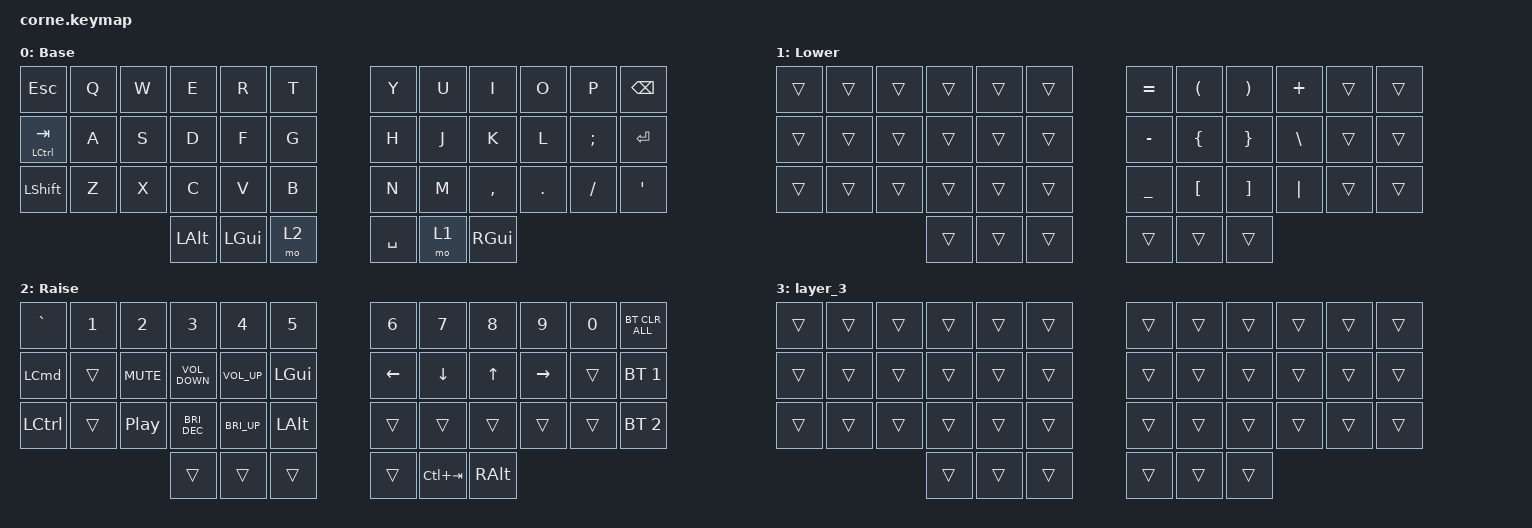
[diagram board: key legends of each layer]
/*
 * Copyright (c) 2020 The ZMK Contributors
 *
 * SPDX-License-Identifier: MIT
 */

#include <behaviors.dtsi>
#include <dt-bindings/zmk/bt.h>
#include <dt-bindings/zmk/keys.h>

/ {
    behaviors {
        kp_tap: kp_tap {
            compatible = "zmk,behavior-hold-tap";
            label = "KP_TAP";
            bindings = <&kp>, <&kp>;

            #binding-cells = <2>;
            tapping-term-ms = <400>;
            quick-tap-ms = <200>;
            flavor = "tap-preferred";
        };

        new_behavior: new_behavior {
            compatible = "zmk,behavior-hold-tap";
            label = "NEW_BEHAVIOR";
            bindings = <&mo>, <&kp>;

            #binding-cells = <2>;
            tapping-term-ms = <400>;
            flavor = "tap-preferred";
            quick-tap-ms = <200>;
        };
    };

    combos {
        compatible = "zmk,combos";

        screenshot {
            bindings = <&kp LG(LS(NUMBER_4))>;
            key-positions = <36 6>;
        };

        wholescreenshot {
            bindings = <&kp LG(LS(NUMBER_3))>;
            key-positions = <36 18>;
        };

        emoji {
            bindings = <&kp LC(LG(SPACE))>;
            key-positions = <15 30>;
        };
    };

    macros {
        space_1: space_1 {
            compatible = "zmk,behavior-macro";
            #binding-cells = <0>;
            bindings = <&kp LC(N1)>;
            label = "SPACE_1";
        };

        space_2: space_2 {
            compatible = "zmk,behavior-macro";
            #binding-cells = <0>;
            bindings = <&kp LC(N2)>;
            label = "SPACE_2";
        };

        space_3: space_3 {
            compatible = "zmk,behavior-macro";
            #binding-cells = <0>;
            bindings = <&kp LC(N3)>;
            label = "SPACE_3";
        };

        space_4: space_4 {
            compatible = "zmk,behavior-macro";
            #binding-cells = <0>;
            bindings = <&kp LC(N4)>;
            label = "SPACE_4";
        };

        tab_1: tab_1 {
            compatible = "zmk,behavior-macro";
            #binding-cells = <0>;
            bindings = <&kp LG(N1)>;
            label = "TAB_1";
        };

        tab_2: tab_2 {
            compatible = "zmk,behavior-macro";
            #binding-cells = <0>;
            bindings = <&kp LG(N2)>;
            label = "TAB_2";
        };

        tab_3: tab_3 {
            compatible = "zmk,behavior-macro";
            #binding-cells = <0>;
            bindings = <&kp LG(N3)>;
            label = "TAB_3";
        };

        tab_4: tab_4 {
            compatible = "zmk,behavior-macro";
            #binding-cells = <0>;
            bindings = <&kp LG(N4)>;
            label = "TAB_4";
        };

        aero_1: aero_1 {
            compatible = "zmk,behavior-macro";
            #binding-cells = <0>;
            bindings = <&kp LA(N1)>;
            label = "AERO_1";
        };

        aero_2: aero_2 {
            compatible = "zmk,behavior-macro";
            #binding-cells = <0>;
            bindings = <&kp LA(N2)>;
            label = "AERO_2";
        };

        aero_3: aero_3 {
            compatible = "zmk,behavior-macro";
            #binding-cells = <0>;
            bindings = <&kp LA(N3)>;
            label = "AERO_3";
        };

        aero_4: aero_4 {
            compatible = "zmk,behavior-macro";
            #binding-cells = <0>;
            bindings = <&kp LA(N4)>;
            label = "AERO_4";
        };

        aero_5: aero_5 {
            compatible = "zmk,behavior-macro";
            #binding-cells = <0>;
            bindings = <&kp LA(N5)>;
            label = "AERO_5";
        };

        aero_6: aero_6 {
            compatible = "zmk,behavior-macro";
            #binding-cells = <0>;
            bindings = <&kp LA(N6)>;
            label = "AERO_6";
        };

        aero_7: aero_7 {
            compatible = "zmk,behavior-macro";
            #binding-cells = <0>;
            bindings = <&kp LA(N7)>;
            label = "AERO_7";
        };

        aero_8: aero_8 {
            compatible = "zmk,behavior-macro";
            #binding-cells = <0>;
            bindings = <&kp LA(N8)>;
            label = "AERO_8";
        };

        lock: lock {
            compatible = "zmk,behavior-macro";
            #binding-cells = <0>;
            bindings = <&kp LG(LC(Q))>;
            label = "LOCK";
        };

        window_1: window_1 {
            compatible = "zmk,behavior-macro";
            #binding-cells = <0>;
            bindings = <&kp LC(TAB)>;
            label = "WINDOW_1";
        };

        window_2: windown_2 {
            compatible = "zmk,behavior-macro";
            #binding-cells = <0>;
            bindings = <&kp LG(TAB)>;
            label = "WINDOWN_2";
        };

        window_3: window_3 {
            compatible = "zmk,behavior-macro";
            #binding-cells = <0>;
            bindings = <&kp LA(GRAVE)>;
            label = "WINDOW_3";
        };

        web_back: web_back {
            compatible = "zmk,behavior-macro";
            #binding-cells = <0>;
            bindings = <&kp LG(LEFT_ARROW)>;
            label = "WEB_BACK";
        };

        web_forth: web_forth {
            compatible = "zmk,behavior-macro";
            #binding-cells = <0>;
            bindings = <&kp LG(RIGHT_ARROW)>;
            label = "WEB_FORTH";
        };
    };

    keymap {
        compatible = "zmk,keymap";

        default_layer {
            // -----------------------------------------------------------------------------------------
            // |  TAB |  Q  |  W  |  E  |  R  |  T  |   |  Y  |  U   |  I  |  O  |  P  | BKSP |
            // | CTRL |  A  |  S  |  D  |  F  |  G  |   |  H  |  J   |  K  |  L  |  ;  |  '   |
            // | SHFT |  Z  |  X  |  C  |  V  |  B  |   |  N  |  M   |  ,  |  .  |  /  | ESC  |
            //                    | GUI | LWR | SPC |   | ENT | RSE  | ALT |

            display-name = "Base";
            bindings = <
&kp ESCAPE                &kp Q  &kp W  &kp E         &kp R         &kp T    &kp Y      &kp U  &kp I          &kp O    &kp P      &kp BACKSPACE
&kp_tap LEFT_CONTROL TAB  &kp A  &kp S  &kp D         &kp F         &kp G    &kp H      &kp J  &kp K          &kp L    &kp SEMI   &kp ENTER
&kp LEFT_SHIFT            &kp Z  &kp X  &kp C         &kp V         &kp B    &kp N      &kp M  &kp COMMA      &kp DOT  &kp SLASH  &kp SINGLE_QUOTE
                                        &kp LEFT_ALT  &kp LEFT_GUI  &mo 2    &kp SPACE  &mo 1  &kp RIGHT_GUI
            >;
        };

        coding {
            // -----------------------------------------------------------------------------------------
            // |  TAB |  1  |  2  |  3  |  4  |  5  |   |  6  |  7  |  8  |  9  |  0  | BKSP |
            // | BTCLR| BT1 | BT2 | BT3 | BT4 | BT5 |   | LFT | DWN |  UP | RGT |     |      |
            // | SHFT |     |     |     |     |     |   |     |     |     |     |     |      |
            //                    | GUI |     | SPC |   | ENT |     | ALT |

            display-name = "Lower";
            bindings = <
&trans  &trans  &trans  &trans  &trans  &trans    &kp EQUAL       &kp LEFT_PARENTHESIS  &kp RIGHT_PARENTHESIS  &kp PLUS       &trans  &trans
&trans  &trans  &trans  &trans  &trans  &trans    &kp MINUS       &kp LEFT_BRACE        &kp RIGHT_BRACE        &kp BACKSLASH  &trans  &trans
&trans  &trans  &trans  &trans  &trans  &trans    &kp UNDERSCORE  &kp LBKT              &kp RBKT               &kp PIPE       &trans  &trans
                        &trans  &trans  &trans    &trans          &trans                &trans
            >;
        };

        math {
            // -----------------------------------------------------------------------------------------
            // |  TAB |  !  |  @  |  #  |  $  |  %  |   |  ^  |  &  |  *  |  (  |  )  | BKSP |
            // | CTRL |     |     |     |     |     |   |  -  |  =  |  [  |  ]  |  \  |  `   |
            // | SHFT |     |     |     |     |     |   |  _  |  +  |  {  |  }  | "|" |  ~   |
            //                    | GUI |     | SPC |   | ENT |     | ALT |

            display-name = "Raise";
            bindings = <
&kp GRAVE         &kp N1  &kp N2            &kp N3             &kp N4        &kp N5          &kp N6    &kp N7          &kp N8         &kp N9     &kp N0  &bt BT_CLR_ALL
&kp LEFT_COMMAND  &trans  &kp K_MUTE        &kp C_VOLUME_DOWN  &kp C_VOL_UP  &kp LEFT_GUI    &kp LEFT  &kp DOWN_ARROW  &kp UP_ARROW   &kp RIGHT  &trans  &bt BT_SEL 1
&kp LEFT_CONTROL  &trans  &kp C_PLAY_PAUSE  &kp C_BRI_DEC      &kp C_BRI_UP  &kp LEFT_ALT    &trans    &trans          &trans         &trans     &trans  &bt BT_SEL 2
                                            &trans             &trans        &trans          &trans    &kp LC(TAB)     &kp RIGHT_ALT
            >;
        };

        layer_3 {
            bindings = <
&trans  &trans  &trans  &trans  &trans  &trans    &trans  &trans  &trans  &trans  &trans  &trans
&trans  &trans  &trans  &trans  &trans  &trans    &trans  &trans  &trans  &trans  &trans  &trans
&trans  &trans  &trans  &trans  &trans  &trans    &trans  &trans  &trans  &trans  &trans  &trans
                        &trans  &trans  &trans    &trans  &trans  &trans
            >;
        };
    };
};
